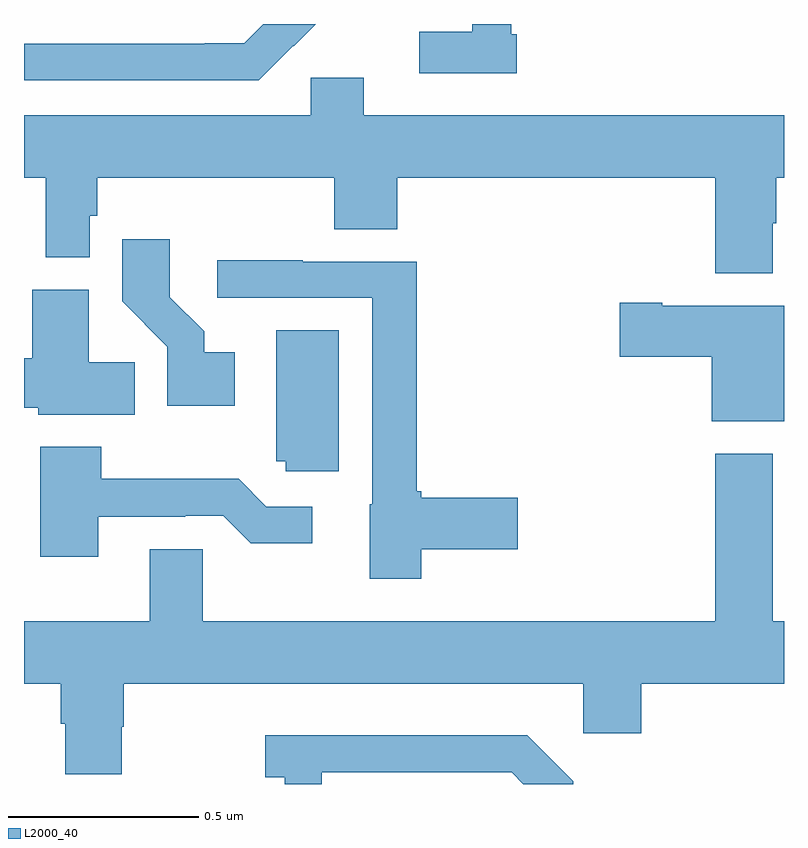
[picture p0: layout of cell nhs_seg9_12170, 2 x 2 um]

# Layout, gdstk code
import gdstk
lib = gdstk.Library(unit=1e-6, precision=1e-09)
def P(c, l, *ps):  # polygons
    for p in ps: c.add(gdstk.Polygon(p, *l))
L2000_40 = (2000, 40)

nhs_seg9_12170 = lib.new_cell('nhs_seg9_12170')
P(nhs_seg9_12170, L2000_40, [(266.297,1187.473),(266.282,1187.473),(266.282,1187.5),(266.18,1187.5),(266.18,1187.479),(266.04,1187.479),(266.04,1187.37),(266.297,1187.37)],
  [(265.709,1187.443),(265.71,1187.442),(265.768,1187.5),(265.63,1187.5),(265.579,1187.449),(265.475,1187.449),(265.475,1187.448),(265,1187.448),(265,1187.352),(265.618,1187.352)],
  [(266.971,1186.976),(266.979,1186.976),(266.979,1187.096),(267,1187.096),(267,1187.26),(265.894,1187.26),(265.894,1187.358),(265.755,1187.358),(265.755,1187.26),(265,1187.26),(265,1187.096),(265.057,1187.096),(265.057,1186.886),(265.173,1186.886),(265.173,1186.995),(265.193,1186.995),(265.193,1187.096),(265.817,1187.096),(265.817,1186.96),(265.982,1186.96),(265.982,1187.096),(266.819,1187.096),(266.819,1186.844),(266.971,1186.844)],
  [(265.555,1186.636),(265.474,1186.636),(265.474,1186.691),(265.384,1186.781),(265.384,1186.933),(265.258,1186.933),(265.258,1186.77),(265.377,1186.651),(265.377,1186.496),(265.555,1186.496)],
  [(266.046,1186.118),(266.299,1186.118),(266.299,1186.253),(266.046,1186.253),(266.046,1186.271),(266.033,1186.271),(266.033,1186.875),(265.733,1186.875),(265.733,1186.878),(265.509,1186.878),(265.509,1186.779),(265.917,1186.779),(265.917,1186.236),(265.91,1186.236),(265.91,1186.04),(266.046,1186.04)],
  [(265.292,1186.61),(265.171,1186.61),(265.171,1186.801),(265.022,1186.801),(265.022,1186.62),(265,1186.62),(265,1186.49),(265.038,1186.49),(265.038,1186.472),(265.292,1186.472)],
  [(267,1186.759),(266.68,1186.759),(266.68,1186.767),(266.568,1186.767),(266.568,1186.625),(266.81,1186.625),(266.81,1186.454),(267,1186.454)],
  [(265.828,1186.694),(265.664,1186.694),(265.664,1186.35),(265.689,1186.35),(265.689,1186.323),(265.828,1186.323)],
  [(265.195,1186.203),(265.424,1186.203),(265.424,1186.206),(265.524,1186.206),(265.597,1186.133),(265.759,1186.133),(265.759,1186.23),(265.638,1186.23),(265.565,1186.303),(265.203,1186.303),(265.203,1186.387),(265.043,1186.387),(265.043,1186.098),(265.195,1186.098)],
  [(265.257,1185.651),(265.262,1185.651),(265.262,1185.764),(266.472,1185.764),(266.472,1185.633),(266.624,1185.633),(266.624,1185.764),(267,1185.764),(267,1185.928),(266.971,1185.928),(266.971,1186.369),(266.819,1186.369),(266.819,1185.928),(265.47,1185.928),(265.47,1186.118),(265.331,1186.118),(265.331,1185.928),(265,1185.928),(265,1185.764),(265.097,1185.764),(265.097,1185.658),(265.109,1185.658),(265.109,1185.526),(265.257,1185.526)],
  [(265.783,1185.531),(266.283,1185.531),(266.314,1185.5),(266.445,1185.5),(266.445,1185.507),(266.324,1185.628),(265.635,1185.628),(265.635,1185.518),(265.686,1185.518),(265.686,1185.5),(265.783,1185.5)])

lib.write_gds('nhs_seg9_12170.gds')
